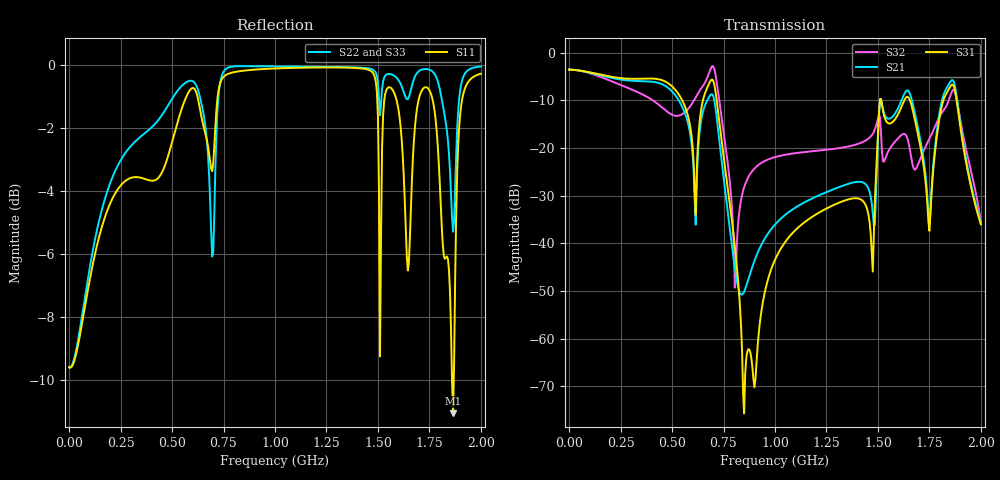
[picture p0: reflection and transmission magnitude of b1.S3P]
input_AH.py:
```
from pathlib import Path

BASE_DIR = Path(__file__).resolve().parent

# Input needs 3 files: Stackup, SPD file, SnP.

# # Original
# stackup_path = r"input files\board original\original_stackup.csv"
# input_path = r"input files\board original\original.spd"
# touchstone_path = r"input files\board original\original.S3P"

# Board 1
stackup_path = r"input files\board 1\b1_stackup.csv"
input_path = r"input files\board 1\b1.spd"
touchstone_path = r"input files\board 1\b1.S3P"

# # # Board 2
# stackup_path = r"input files\board 2\b2_stackup.csv"
# input_path = r"input files\board 2\b2.spd"
# touchstone_path = r"input files\board 2\b2.S5P"

# # Board 2_2
# stackup_path = r"input files\board 2.2\b2_2_stackup.csv"
# input_path = r"input files\board 2.2\b2_2.spd"
# touchstone_path = r"input files\board 2.2\b2_2.S2P"

# # Board 3
# stackup_path = r"input files\board 3\b3_stackup.csv"
# input_path = r"input files\board 3\b3.spd"
# touchstone_path = r"input files\board 3\b3.S3P"

# # Board 3.1 - board outline on top is not collapsed
# stackup_path = r"input files\board 3.1\b3_1_stackup.csv"
# input_path = r"input files\board 3.1\b3_1.spd"
# touchstone_path = r"input files\board 3.1\b3_1.S3P"

# # Board 4.1
# stackup_path = r"input files\board 4.1\b4_1_stackup.csv"
# input_path = r"input files\board 4.1\b4_1.spd"
# touchstone_path = r"input files\board 4.1\b4_1.S3P"

# # Board 5 - 6p power domains
# stackup_path = r"input files\board 5\b5_stackup.csv"
# input_path = r"input files\board 5\b5.spd"
# touchstone_path = r"input files\board 5\b5.S6P"

# # # Board 6 - something wrong: large C difference between powerSI and python, maybe files mismatch. all same for 6.1, 6.2, 6.3, 6.4 (maybe cause i copied files)
# stackup_path = r"input files\board 6\b6_stackup.csv"
# input_path = r"input files\board 6\b6.spd"
# touchstone_path = r"input files\board 6\b6.S2P"

# # Board 6.1  without via under decap - DONT WORK
# stackup_path = r"input files\board 6.1\b6_1_stackup.csv"
# input_path = r"input files\board 6.1\b6_1.spd"
# touchstone_path = r"input files\board 6.1\b6_1.S2P"

# # # Board 6.2  with decap closer to ic
# stackup_path = r"input files\board 6.2\b6_2_stackup.csv"
# input_path = r"input files\board 6.2\b6_2.spd"
# touchstone_path = r"input files\board 6.2\b6_2.S2P"

# # # Board 6.3  with decap next to ic
# stackup_path = r"input files\board 6.3\b6_3_stackup.csv"
# input_path = r"input files\board 6.3\b6_3.spd"
# touchstone_path = r"input files\board 6.3\b6_3.S2P"


# # # Board 6.4  100 -> 20 width
# stackup_path = r"input files\board 6.4\b6_4_stackup.csv"
# input_path = r"input files\board 6.4\b6_4.spd"
# touchstone_path = r"input files\board 6.4\b6_4.S2P"

# # Board 7.1
# stackup_path = r"input files\board 7\b7_stackup.csv"
# input_path = r"input files\board 7\b7_1.spd"
# touchstone_path = r"input files\board 7\b7_1.S1P"

# # Board 7.2
# stackup_path = r"input files\board 7\b7_stackup.csv"
# input_path = r"input files\board 7\b7_2.spd"
# touchstone_path = r"input files\board 7\b7_2.S1P"

# # Board 8 - first PowerDC
# stackup_path = r"input files\board 8\b8_stackup.csv"
# input_path = r"input files\board 8\b8.spd"
# touchstone_path = r"input files\board 8\b8.S2P"
# R11_PowerSI = open(r"input files\board 8\R.txt").read().strip()

# # Board 8.1 - PowerDC - 4 layer 
# stackup_path = r"input files\board 8.1\b8_1_stackup.csv"
# input_path = r"input files\board 8.1\b8_1.spd"
# touchstone_path = r"input files\board 8.1\b8_1.S2P"
# R11_PowerSI = open(r"input files\board 8.1\R.txt").read().strip()


# # # Board 9 - buried via fix
# stackup_path = r"input files\board 9\b9_stackup.csv"
# input_path = r"input files\board 9\b9.spd"
# touchstone_path = r"input files\board 9\b9.S2P"

# # # Board 9_1 - blind fix
# stackup_path = r"input files\board 9\b9_stackup.csv"
# input_path = r"input files\board 9\b9_1.spd"
# touchstone_path = r"input files\board 9\b9.S2P"

# # # Board 10 - anchor via - triangle board
# stackup_path = r"input files\board 10\b10_stackup.csv"
# input_path = r"input files\board 10\b10_no_via.spd"
# # input_path = r"input files\board 10\b10.spd"
# touchstone_path = r"input files\board 10\b10.S2P"
```
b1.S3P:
!Generated from: C:\Users\nkfzm\OneDrive - University of Missouri\Desktop\Research\PowerSI\Board 1 - GPGG\test1.spd
! Port1_ic_port::PWR
! Port2_decap_port1_1::PWR
! Port3_decap_port2_1::PWR
!Layout Workbench Version: 24.1.0.10141.541387  000
!Computer Host Name: RS29JQCX3
!TouchstoneFormatFlag = 1
! GNDNET GRD
! NETSLIST
#	Hz	Z	RI	R	1
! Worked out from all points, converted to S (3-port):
!   625 points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, 100 mHz to 2 GHz, reference 1 ohm
!   strongest paths, dB at 100 mHz, 164 MHz, 476 MHz, 1.22 GHz, 2 GHz:
!     S31: -3.5, -4.7, -6.3, -33.4, -36.0
!     S21: -3.5, -4.9, -7.2, -29.8, -35.6
!     S32: -3.5, -5.3, -12.3, -20.5, -35.5
!   lowest |S11| = -11.1 dB at 1.865 GHz (marker M1), VSWR 1.78, Z = 0.753 + j0.442 ohm
!   |S11| at or under -10 dB: 1.859754 GHz to 1.868249 GHz (8.495 MHz wide, 0.456 % of centre)
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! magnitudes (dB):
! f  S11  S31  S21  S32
! 100 mHz  -9.6  -3.5  -3.5  -3.5
! 695 MHz  -3.4  -5.6  -8.7  -2.8
! 855 MHz  -0.2  -67.5  -49.6  -27.6
! 1.865 GHz  -11.1  -6.7  -5.8  -7.8
! 2 GHz  -0.3  -36.0  -35.6  -35.5
